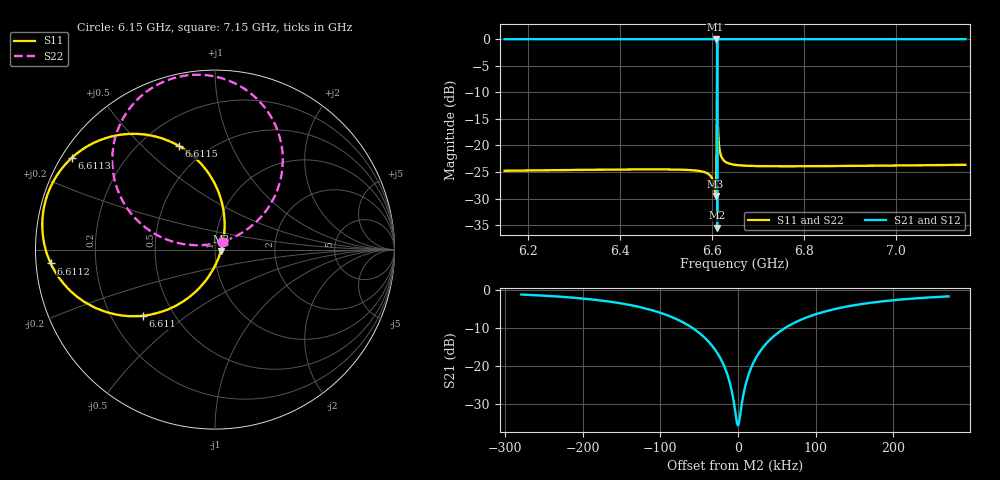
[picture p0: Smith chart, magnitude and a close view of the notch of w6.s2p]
! Sonnet Data File
! From: em Version : 14.52
! From Project: w6
! Data is De-embedded
! Data File Written: 07/15/2018 13:38:05
!< HDATE 07/14/2018 00:01:31
!< MDATE 07/15/2018 10:12:42
# GHZ S MA R 50.00000
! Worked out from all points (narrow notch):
!   895 points, 6.15 GHz to 7.15 GHz, reference 50 ohm
!   highest |S21| = -0.01 dB at 6.6078 GHz (marker M1); lowest = -35.5 dB at 6.6113 GHz (marker M2)
!   notch at M2: 35.4 dB deep, 46.6 kHz wide at half that depth
!   lowest |S11| = -29.5 dB at 6.6078 GHz (marker M3), VSWR 1.07, Z = 53.3 - j0.883 ohm
!   |S11| at or under -10 dB: start of sweep to 6.6108 GHz; 6.6119 GHz to end of sweep
!   |S22| runs from -29.5 to -0.1 dB; largest |S21 - S12| = 0
!   S11 on the Smith chart (normalised r, x): 6.15 GHz: 1.08, +0.09; 6.611 GHz: 0.33, -0.35; 6.6112 GHz: 0.04, -0.04; 6.6113 GHz: 0.03, +0.29; 6.6115 GHz: 0.35, +0.65; 7.15 GHz: 1.10, +0.09
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6.15  0.05775 46.3  0.9983 -41.7  0.9983 -41.7  0.05775 50.2
!< P1 F=6.15 Eeff=(5.67096571 -5.1692e-6) Z0=(55.5146434 2.52993e-5) R=0.00807666 C=0.00293413
!< P2 F=6.15 Eeff=(5.67095775 -5.1692e-6) Z0=(55.474796 2.52859e-5) R=0.00808451 C=0.00293131
6.32  0.05887 45.0  0.9983 -42.9  0.9983 -42.9  0.05886 49.2
6.485  0.05944 43.4  0.9982 -44.0  0.9982 -44.0  0.05944 48.5
6.595  0.05271 36.4  0.9986 -45.3  0.9986 -45.3  0.05271 52.9
6.6078  0.03347 -14.3  0.9994 -47.7  0.9994 -47.7  0.03356 99.0
6.609  0.04167 -54.9  0.999 -49.2  0.999 -49.2  0.04183 136.3
6.6104  0.1466 -102.1  0.9885 -56.0  0.9885 -56.0  0.1469 169.6
6.61105  0.5456 -137.5  0.8307 -80.8  0.8307 -80.8  0.5463 154.4
6.611232  0.9182 -175.2  0.3549 -114.4  0.3549 -114.4  0.9193 121.2
6.611275  0.9738 171.2  0.1332 -122.9  0.1332 -122.9  0.9749 108.5
6.611299  0.9826 163.2  0.01684 -43.5  0.01684 -43.5  0.9838 101.1
6.611318  0.9773 157.0  0.1069 27.3  0.1069 27.3  0.9784 95.3
6.611349  0.9479 147.4  0.2657 23.4  0.2657 23.4  0.949 86.3
6.61142  0.8245 129.0  0.5457 7.8  0.5457 7.8  0.8254 69.3
6.61154  0.6132 109.3  0.7826 -10.0  0.7826 -10.0  0.6138 52.0
6.61182  0.3636 89.9  0.9297 -26.5  0.9297 -26.5  0.3639 37.6
6.6124  0.2094 76.4  0.9774 -35.8  0.9774 -35.8  0.2095 32.2
6.617  0.08888 55.9  0.996 -43.1  0.996 -43.1  0.0889 37.9
6.65  0.06567 45.5  0.9978 -44.8  0.9978 -44.8  0.06567 44.9
6.82  0.06375 42.3  0.998 -46.2  0.998 -46.2  0.06375 45.3
6.985  0.0646 41.0  0.9979 -47.3  0.9979 -47.3  0.0646 44.4
7.15  0.06564 39.7  0.9978 -48.4  0.9978 -48.4  0.06564 43.4
